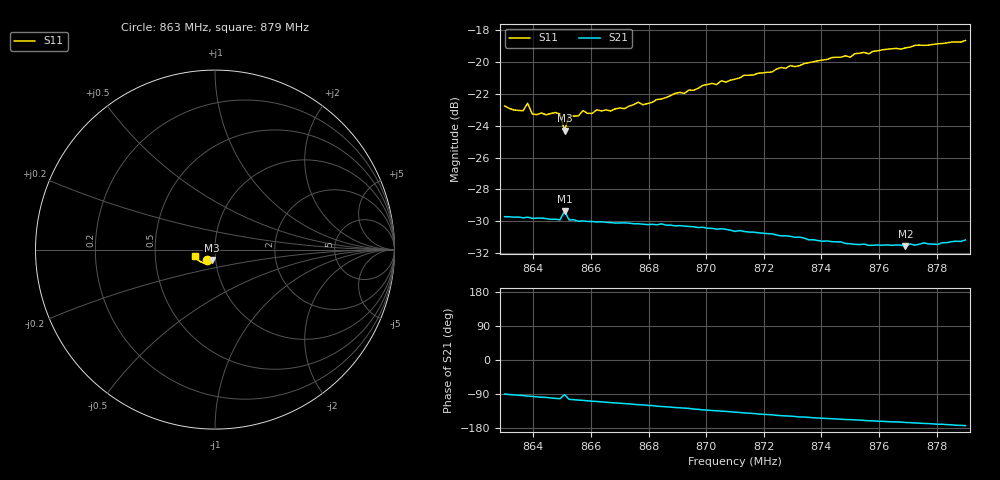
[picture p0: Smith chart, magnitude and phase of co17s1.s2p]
# HZ S RI R 50
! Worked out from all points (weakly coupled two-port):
!   101 points, 863 MHz to 879 MHz, reference 50 ohm
!   highest |S21| = -29.37 dB at 865.08 MHz (marker M1); lowest = -31.6 dB at 876.92 MHz (marker M2)
!   lowest |S11| = -24.3 dB at 865.08 MHz (marker M3), VSWR 1.13, Z = 47.9 - j5.6 ohm
!   |S11| at or under -10 dB: start of sweep to end of sweep
!   S12 and S22 are empty: the file has one direction only
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8.63e8  -0.0457 -0.0566  7e-05 -0.0327  0 0  0 0
8.6364e8  -0.0424 -0.0561  -0.00224 -0.0323  0 0  0 0
8.638e8  -0.0488 -0.0559  -0.00297 -0.0324  0 0  0 0
8.6396e8  -0.0402 -0.0557  -0.00346 -0.0321  0 0  0 0
8.6492e8  -0.0386 -0.0568  -0.00674 -0.0312  0 0  0 0
8.6508e8  -0.0179 -0.0582  -0.000763 -0.034  0 0  0 0
8.6524e8  -0.0373 -0.0568  -0.00769 -0.031  0 0  0 0
8.6556e8  -0.0372 -0.0566  -0.00864 -0.0304  0 0  0 0
8.6572e8  -0.0369 -0.0599  -0.00911 -0.0304  0 0  0 0
8.6588e8  -0.0368 -0.0584  -0.00963 -0.0301  0 0  0 0
8.662e8  -0.0377 -0.0599  -0.0105 -0.0297  0 0  0 0
8.6668e8  -0.0352 -0.0607  -0.0119 -0.0289  0 0  0 0
8.6716e8  -0.0355 -0.0619  -0.0132 -0.0283  0 0  0 0
8.6764e8  -0.0371 -0.065  -0.0145 -0.0275  0 0  0 0
8.678e8  -0.0373 -0.0632  -0.0147 -0.0272  0 0  0 0
8.6844e8  -0.0381 -0.0664  -0.0168 -0.0261  0 0  0 0
8.6988e8  -0.044 -0.0721  -0.0201 -0.0226  0 0  0 0
8.71e8  -0.0498 -0.073  -0.0217 -0.0198  0 0  0 0
8.7372e8  -0.0688 -0.0728  -0.0245 -0.0128  0 0  0 0
8.7644e8  -0.0926 -0.0594  -0.0254 -0.00766  0 0  0 0
8.7692e8  -0.0953 -0.0564  -0.0255 -0.0069  0 0  0 0
8.79e8  -0.1105 -0.038  -0.0274 -0.00323  0 0  0 0
